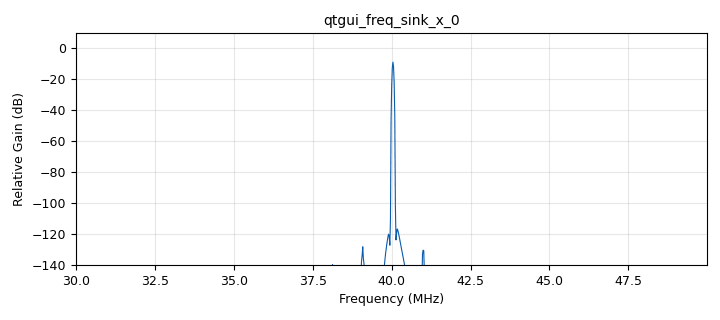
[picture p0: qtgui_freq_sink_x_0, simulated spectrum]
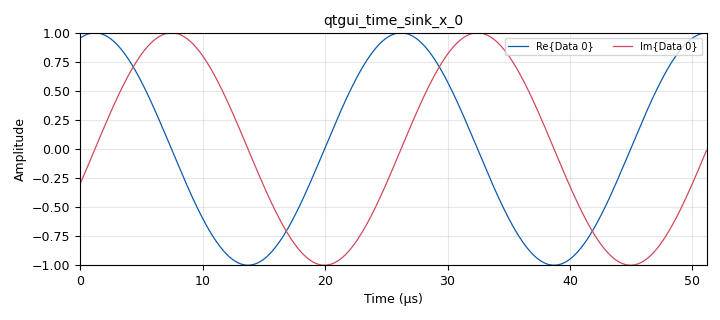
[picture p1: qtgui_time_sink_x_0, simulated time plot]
options:
  parameters:
    generate_options: qt_gui
    id: Practica2GNU_AndresFlores
    output_language: python
    title: Not titled yet
  states: {}

blocks:
- name: samp_rate
  id: variable
  parameters:
    value: 20e6
  states: {}
- name: analog_sig_source_x_0
  id: analog_sig_source_x
  parameters:
    amp: '1'
    freq: 40e3
    offset: '0'
    phase: '0'
    samp_rate: samp_rate
    type: complex
    waveform: analog.GR_SIN_WAVE
  states: {}
- name: blocks_file_sink_0
  id: blocks_file_sink
  parameters:
    file: C:\Users\20242\Desktop\DatosPractica2.dat
    type: complex
  states: {}
- name: blocks_throttle2_0
  id: blocks_throttle2
  parameters:
    samples_per_second: samp_rate
    type: complex
  states: {}
- name: qtgui_freq_sink_x_0
  id: qtgui_freq_sink_x
  parameters:
    bw: samp_rate
    ctrlpanel: 'True'
    fc: 40e6
    fftsize: '1024'
    type: complex
  states: {}
- name: qtgui_time_sink_x_0
  id: qtgui_time_sink_x
  parameters:
    ctrlpanel: 'True'
    size: '1024'
    srate: samp_rate
    type: complex
  states: {}
- name: virtual_sink_0
  id: virtual_sink
  parameters: {}
  states: {}
- name: virtual_source_0
  id: virtual_source
  parameters: {}
  states: {}

connections:
- [analog_sig_source_x_0, '0', blocks_throttle2_0, '0']
- [blocks_throttle2_0, '0', virtual_sink_0, '0']
- [virtual_source_0, '0', blocks_file_sink_0, '0']
- [virtual_source_0, '0', qtgui_freq_sink_x_0, '0']
- [virtual_source_0, '0', qtgui_time_sink_x_0, '0']

metadata:
  file_format: 1
  grc_version: 3.10.8.0
